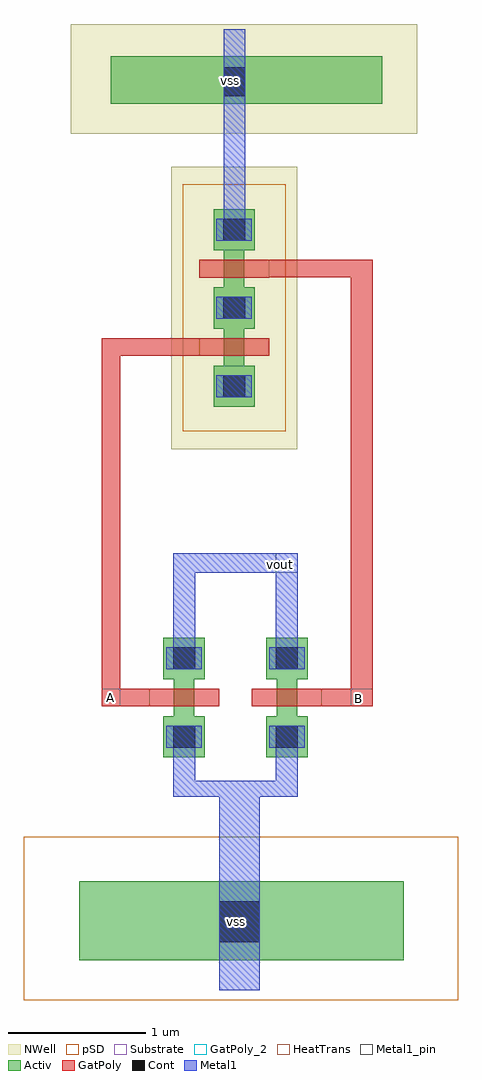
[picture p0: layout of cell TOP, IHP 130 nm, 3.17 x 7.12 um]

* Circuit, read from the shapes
.subckt TOP A B vout vss
XM1 vout A VSUBS VSUBS sg13_lv_nmos w=0.15u l=0.13u
XM2 vout B VSUBS VSUBS sg13_lv_nmos w=0.15u l=0.13u
XM3 n1 A n2 n3 sg13_lv_pmos w=0.15u l=0.13u
XM4 vss B n1 n3 sg13_lv_pmos w=0.15u l=0.13u
.ends

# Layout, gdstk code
from math import pi, radians
import gdstk
lib = gdstk.Library(unit=1e-6, precision=5e-09)
def R(c, l, rs):  # rectangles x0, y0, x1, y1
    for r in rs: c.add(gdstk.rectangle(r[:2], r[2:], *l))
Activ = (1, 0)
GatPoly = (5, 0)
GatPoly_2 = (5, 2)
Cont = (6, 0)
Metal1 = (8, 0)
Metal1_pin = (8, 2)
pSD = (14, 0)
NWell = (31, 0)
Substrate = (40, 0)
HeatTrans = (51, 0)

nmos = lib.new_cell('nmos')
R(nmos, Activ, [(0,0,0.3,0.3), (0.57,0,0.87,0.3), (0,0.075,0.87,0.225)])
R(nmos, GatPoly, [(0.37,-0.105,0.5,0.405)])
R(nmos, GatPoly_2, [(0.37,-0.105,0.5,0.405)])
R(nmos, Cont, [(0.07,0.07,0.23,0.23), (0.64,0.07,0.8,0.23)])
R(nmos, Metal1, [(0.07,0.02,0.23,0.28), (0.64,0.02,0.8,0.28)])
R(nmos, Metal1_pin, [(0.07,0.02,0.23,0.28), (0.64,0.02,0.8,0.28)])
R(nmos, HeatTrans, [(0.37,-0.105,0.5,0.405)])
nmos.add(gdstk.Label('nmos', (0.435,0.15), layer=63, texttype=0))
nmos.add(gdstk.Label('nmos', (0.435,0.15), layer=51, texttype=0))

pmos = lib.new_cell('pmos')
R(pmos, Activ, [(0,0,0.3,0.3), (0.57,0,0.87,0.3), (0,0.075,0.87,0.225)])
R(pmos, GatPoly, [(0.37,-0.105,0.5,0.405), (0.37,-0.105,0.5,0.405)])
R(pmos, Cont, [(0.07,0.07,0.23,0.23), (0.64,0.07,0.8,0.23)])
R(pmos, Metal1, [(0.07,0.02,0.23,0.28), (0.07,0.02,0.23,0.28), (0.64,0.02,0.8,0.28), (0.64,0.02,0.8,0.28)])
R(pmos, pSD, [(-0.18,-0.225,1.05,0.525)])
R(pmos, NWell, [(-0.31,-0.31,1.18,0.61)])
R(pmos, Substrate, [(0.57,0,0.87,0.3)])
R(pmos, HeatTrans, [(0.37,-0.105,0.5,0.405)])
pmos.add(gdstk.Label('pmos', (0.435,0.15), layer=63, texttype=0))
pmos.add(gdstk.Label('pmos', (0.435,0.15), layer=51, texttype=0))

top = lib.new_cell('TOP')
R(top, Activ, [(2.07,-0.245,4.435,0.33), (2.3,6,4.28,6.345)])
R(top, GatPoly, [(2.235,1.605,2.73,1.735), (2.235,1.605,2.37,4.28), (3.685,1.605,4.21,1.735), (4.05,1.605,4.21,4.86), (2.235,4.16,3.09,4.29), (3.2,4.735,4.21,4.86)])
R(top, GatPoly_2, [(2.235,1.605,2.37,1.735), (4.05,1.605,4.21,1.735)])
R(top, Cont, [(3.09,-0.115,3.385,0.185), (2.755,1.305,2.915,1.465), (3.505,1.305,3.665,1.465), (2.755,1.875,2.915,2.035), (3.505,1.875,3.665,2.035), (3.125,6.055,3.28,6.265)])
R(top, Metal1, [(3.09,-0.465,3.385,1.065), (2.755,0.945,2.915,1.465), (2.755,0.945,3.665,1.065), (3.505,0.945,3.665,1.465), (2.755,1.875,2.915,2.72), (3.505,1.875,3.665,2.72), (2.755,2.58,3.665,2.72), (3.125,5,3.28,6.54)])
R(top, Metal1_pin, [(3.505,2.58,3.665,2.72), (3.125,6.055,3.28,6.265)])
R(top, pSD, [(1.665,-0.535,4.835,0.655)])
R(top, NWell, [(2.01,5.78,4.535,6.58)])
top.add(gdstk.Reference(nmos, (2.985,1.235), rotation=pi/2))
top.add(gdstk.Reference(nmos, (3.735,1.235), rotation=pi/2))
top.add(gdstk.Reference(pmos, (3.35,4.36), rotation=pi/2))
top.add(gdstk.Reference(pmos, (3.05,4.66), rotation=3*pi/2))
top.add(gdstk.Label('vss', (3.215,0.035), layer=6, texttype=0))
top.add(gdstk.Label('vout', (3.535,2.64), layer=8, texttype=2))
top.add(gdstk.Label('vss', (3.175,6.165), layer=8, texttype=2))
top.add(gdstk.Label('B', (4.105,1.66), layer=5, texttype=2))
top.add(gdstk.Label('A', (2.3,1.67), layer=5, texttype=2))

lib.write_gds('TOP.gds')
